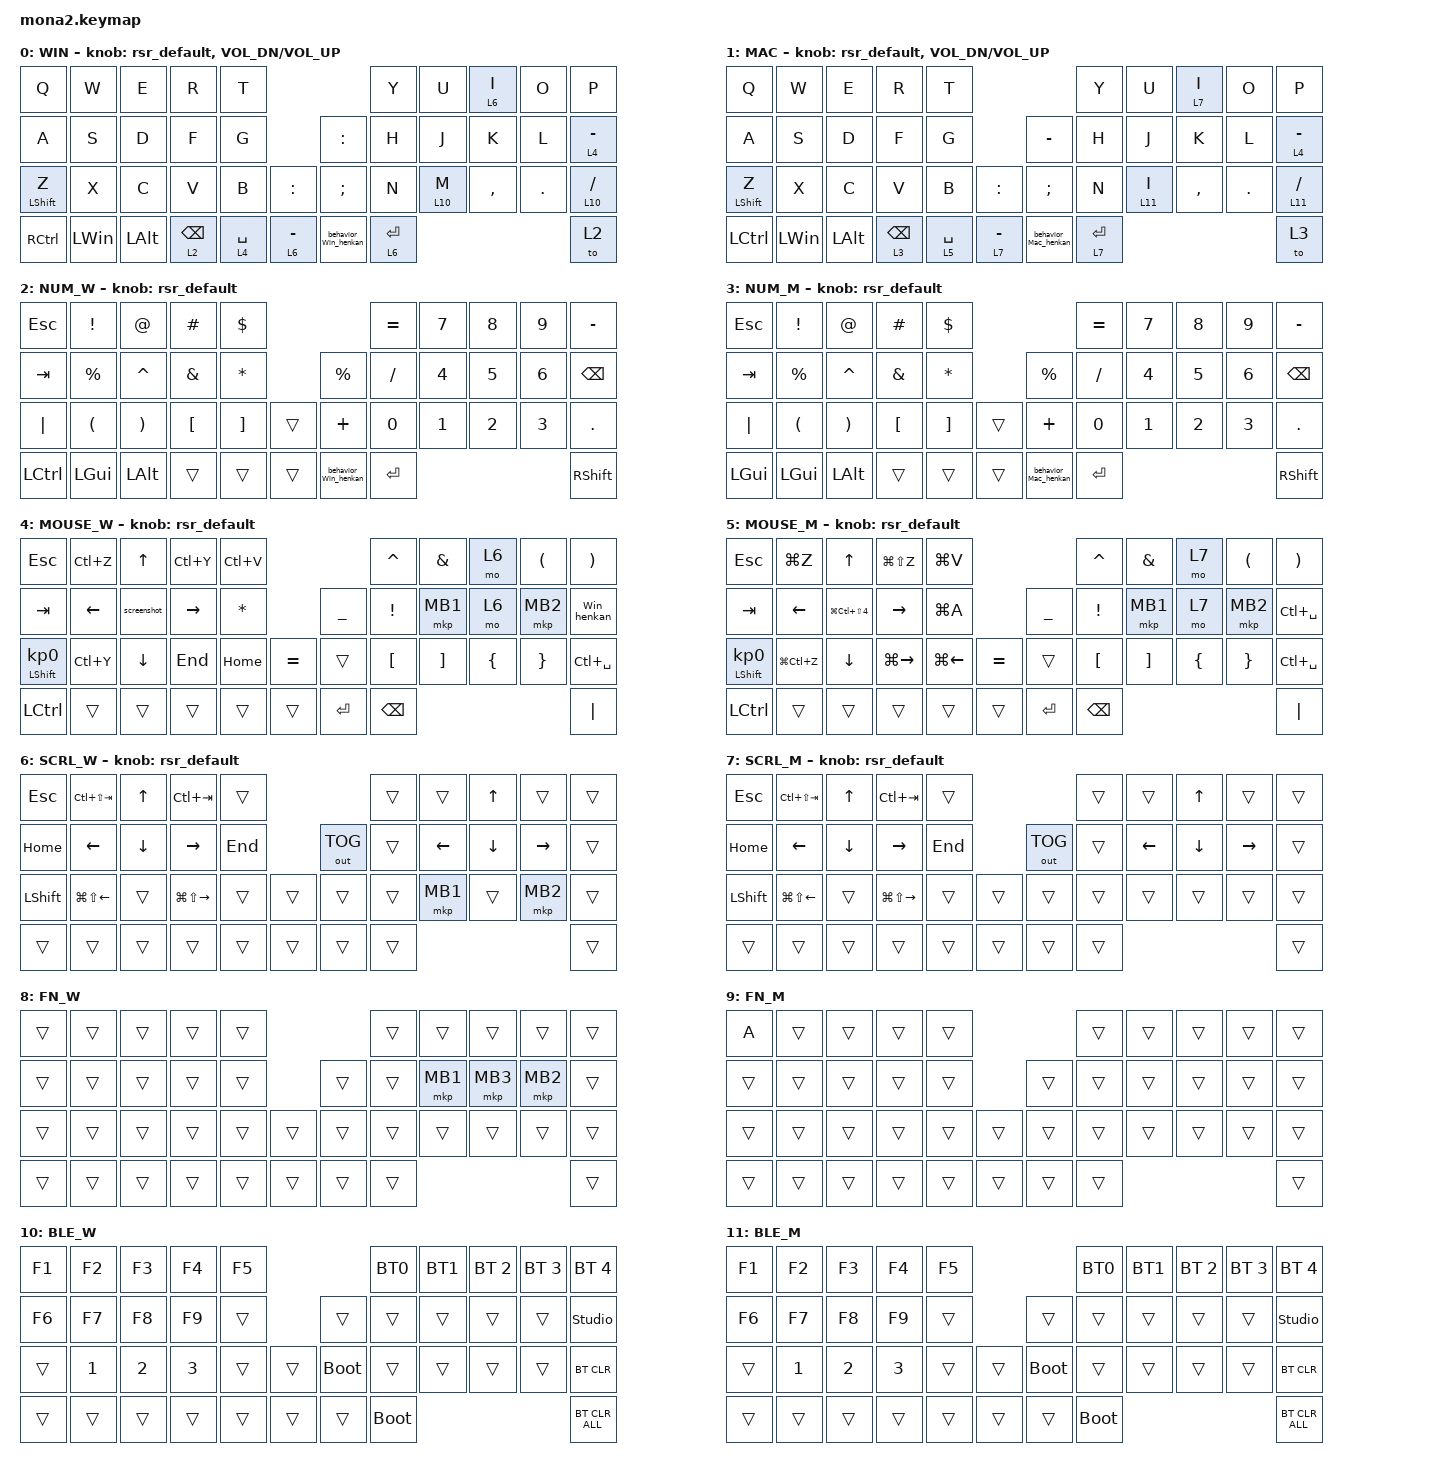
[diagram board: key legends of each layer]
#include <input/processors.dtsi>
#include <dt-bindings/zmk/input_transform.h>
#include <zephyr/dt-bindings/input/input-event-codes.h>
#include <behaviors/runtime-sensor-rotate.dtsi>
#include <behaviors.dtsi>
#include <dt-bindings/zmk/bt.h>
#include <dt-bindings/zmk/keys.h>
#include <dt-bindings/zmk/outputs.h>
#include <dt-bindings/zmk/pointing.h>

/* ZMK 側で 10 が定義済みなので警告回避のため一旦 undef */

#undef ZMK_POINTING_DEFAULT_SCRL_VAL

#define ZMK_POINTING_DEFAULT_SCRL_VAL 100

&mt {
    flavor = "balanced";
    quick-tap-ms = <0>;
};

&lt {
    quick-tap-ms = <200>;
    flavor = "balanced";
};

&msc {
    delay-ms = <0>;
    time-to-max-speed-ms = <0>;
    acceleration-exponent = <0>;
};

/ {
    combos {
        compatible = "zmk,combos";

        layer4_ESC {
            bindings = <&lt 4 ESC>;
            key-positions = <39 38>;
        };

        tab {
            bindings = <&kp TAB>;
            key-positions = <11 12>;
        };
    };

    macros {
        to_layer_0: to_layer_0 {
            compatible = "zmk,behavior-macro-one-param";
            #binding-cells = <1>;
            bindings = <&to 0 &macro_param_1to1 &kp MACRO_PLACEHOLDER>;
            label = "TO_LAYER_0";
        };

        BT0: BT0 {
            compatible = "zmk,behavior-macro";
            #binding-cells = <0>;
            bindings =
                <&tog_off 0 &tog_off 1>,
                <&macro_wait_time 200>,
                <&bt BT_SEL 0>,
                <&macro_wait_time 500>,
                <&tog_on 0>;

            label = "BT0";
        };

        BT1: BT1 {
            compatible = "zmk,behavior-macro";
            #binding-cells = <0>;
            bindings =
                <&tog_off 0 &tog_off 1>,
                <&macro_wait_time 200>,
                <&bt BT_SEL 1>,
                <&macro_wait_time 500>,
                <&tog_on 1>;

            label = "BT1";
        };

        screenshot: screenshot {
            compatible = "zmk,behavior-macro";
            #binding-cells = <0>;
            bindings =
                <&macro_press>,
                <&kp LEFT_GUI &kp RSHIFT>,
                <&macro_wait_time 20>,
                <&macro_tap>,
                <&kp S>,
                <&macro_release>,
                <&kp LEFT_GUI &kp RSHIFT>;

            label = "SCREENSHOT";
        };

        Win_henkan: henkan {
            compatible = "zmk,behavior-macro";
            #binding-cells = <0>;
            bindings = <&macro_press>, <&kp INT_HENKAN &to 0>;

            label = "HENKAN";
        };

        Win_muhenkan: Win_muhenkan {
            compatible = "zmk,behavior-macro";
            #binding-cells = <0>;
            bindings = <&macro_press>, <&kp INT_MUHENKAN &to 0>;

            label = "WIN_MUHENKAN";
        };

        Mac_henkan: Mac_henkan {
            compatible = "zmk,behavior-macro";
            #binding-cells = <0>;
            bindings = <&macro_press>, <&kp INT_HENKAN &to 1>;

            label = "MAC_HENKAN";
        };

        Mac_muhenkan: Mac_muhenkan {
            compatible = "zmk,behavior-macro";
            #binding-cells = <0>;
            bindings = <&macro_press>, <&kp INT_MUHENKAN &to 1>;

            label = "MAC_MUHENKAN";
        };
    };

    behaviors {
        lt_to_layer_0: lt_to_layer_0 {
            compatible = "zmk,behavior-hold-tap";
            label = "LAYER_TAP_TO_0";
            bindings = <&mo>, <&to_layer_0>;

            #binding-cells = <2>;
            tapping-term-ms = <200>;
        };

        tp_repeat_mo1: tp_repeat_mo1 {
            compatible = "zmk,behavior-hold-tap";
            label = "TP_REPEAT_MO1";
            bindings = <&mo>, <&key_repeat>;

            #binding-cells = <2>;
            tapping-term-ms = <200>;
        };

        // エンコーダ用 runtime-configurable sensor rotate
        // デフォルトはスクロール (cw=SCRL_DOWN, ccw=SCRL_UP)
        // DYA Studio Web UI から レイヤーごとに cw/ccw の binding を
        // kp C_VOL_UP/DN や kp LEFT/RIGHT などへ動的変更可能

        rsr_default: rsr_default {
            compatible = "zmk,behavior-runtime-sensor-rotate";
            #sensor-binding-cells = <0>;
            tap-ms = <16>;
            cw-binding = <&msc SCRL_DOWN>;
            ccw-binding = <&msc SCRL_UP>;
        };

        tog_on: toggle_layer_on_only {
            compatible = "zmk,behavior-toggle-layer";
            #binding-cells = <1>;
            display-name = "Toggle Layer On";
            toggle-mode = "on";
        };

        tog_off: toggle_layer_off_only {
            compatible = "zmk,behavior-toggle-layer";
            #binding-cells = <1>;
            display-name = "Toggle Layer Off";
            toggle-mode = "off";
        };

        zfold: zfold {
            compatible = "zmk,behavior-hold-tap";
            label = "ZFOLD";
            bindings = <&kp>, <&kp>;

            #binding-cells = <2>;
            tapping-term-ms = <300>;
            flavor = "hold-preferred";
            quick-tap-ms = <150>;
            hold-while-undecided;
        };

        zfoldZ: zfoldZ {
            compatible = "zmk,behavior-tap-dance";
            label = "ZFOLDZ";
            #binding-cells = <0>;
            bindings = <&zfold LEFT_SHIFT Z>, <&kp LS(Z)>;
        };

        behavior_Win_henkan: behavior_Win_henkan {
            compatible = "zmk,behavior-tap-dance";
            label = "BEHAVIOR_WIN_HENKAN";
            #binding-cells = <0>;
            bindings = <&Win_henkan>, <&Win_muhenkan>;
        };

        behavior_Mac_henkan: behavior_Mac_henkan {
            compatible = "zmk,behavior-tap-dance";
            label = "BEHAVIOR_MAC_HENKAN";
            #binding-cells = <0>;
            bindings = <&Mac_henkan>, <&Mac_muhenkan>;
        };
    };

    keymap {
        compatible = "zmk,keymap";

        win_layer {
            display-name = "WIN";
            bindings = <
&kp Q             &kp W         &kp E         &kp R            &kp T                                             &kp Y        &kp U     &lt 6 I    &kp O    &kp P
&kp A             &kp S         &kp D         &kp F            &kp G                       &kp COLON             &kp H        &kp J     &kp K      &kp L    &lt 4 MINUS
&mt LEFT_SHIFT Z  &kp X         &kp C         &kp V            &kp B        &kp COLON      &kp SEMICOLON         &kp N        &lt 10 M  &kp COMMA  &kp DOT  &lt 10 SLASH
&kp RCTRL         &kp LEFT_WIN  &kp LEFT_ALT  &lt 2 BACKSPACE  &lt 4 SPACE  &lt 6 MINUS    &behavior_Win_henkan  &lt 6 ENTER                                &to 2
            >;

            sensor-bindings = <&rsr_default>, <&inc_dec_kp C_VOL_DN C_VOL_UP>;
        };

        mac_layer {
            display-name = "MAC";
            bindings = <
&kp Q             &kp W         &kp E         &kp R            &kp T                                             &kp Y        &kp U     &lt 7 I    &kp O    &kp P
&kp A             &kp S         &kp D         &kp F            &kp G                       &kp MINUS             &kp H        &kp J     &kp K      &kp L    &lt 4 MINUS
&mt LEFT_SHIFT Z  &kp X         &kp C         &kp V            &kp B        &kp COLON      &kp SEMICOLON         &kp N        &lt 11 I  &kp COMMA  &kp DOT  &lt 11 SLASH
&kp LEFT_CONTROL  &kp LEFT_WIN  &kp LEFT_ALT  &lt 3 BACKSPACE  &lt 5 SPACE  &lt 7 MINUS    &behavior_Mac_henkan  &lt 7 ENTER                                &to 3
            >;

            sensor-bindings = <&rsr_default>, <&inc_dec_kp C_VOL_DN C_VOL_UP>;
        };

        num_win {
            display-name = "NUM_W";
            bindings = <
&kp ESCAPE  &kp EXCLAMATION       &kp AT_SIGN            &kp HASH          &kp DOLLAR                                         &kp EQUAL  &kp NUMBER_7  &kp NUMBER_8  &kp NUMBER_9  &kp MINUS
&kp TAB     &kp PERCENT           &kp CARET              &kp AMPERSAND     &kp ASTERISK                 &kp PERCENT           &kp SLASH  &kp NUMBER_4  &kp NUMBER_5  &kp NUMBER_6  &kp BACKSPACE
&kp PIPE    &kp LEFT_PARENTHESIS  &kp RIGHT_PARENTHESIS  &kp LEFT_BRACKET  &kp RIGHT_BRACKET  &trans    &kp PLUS              &kp N0     &kp NUMBER_1  &kp NUMBER_2  &kp NUMBER_3  &kp DOT
&kp LCTRL   &kp LEFT_GUI          &kp LEFT_ALT           &trans            &trans             &trans    &behavior_Win_henkan  &kp ENTER                                            &kp RIGHT_SHIFT
            >;

            sensor-bindings = <&rsr_default>;
        };

        num_mac {
            display-name = "NUM_M";
            bindings = <
&kp ESCAPE    &kp EXCLAMATION       &kp AT_SIGN            &kp HASH          &kp DOLLAR                                         &kp EQUAL  &kp NUMBER_7  &kp NUMBER_8  &kp NUMBER_9  &kp MINUS
&kp TAB       &kp PERCENT           &kp CARET              &kp AMPERSAND     &kp ASTERISK                 &kp PERCENT           &kp SLASH  &kp NUMBER_4  &kp NUMBER_5  &kp NUMBER_6  &kp BACKSPACE
&kp PIPE      &kp LEFT_PARENTHESIS  &kp RIGHT_PARENTHESIS  &kp LEFT_BRACKET  &kp RIGHT_BRACKET  &trans    &kp PLUS              &kp N0     &kp NUMBER_1  &kp NUMBER_2  &kp NUMBER_3  &kp PERIOD
&kp LEFT_GUI  &kp LEFT_GUI          &kp LEFT_ALT           &trans            &trans             &trans    &behavior_Mac_henkan  &kp ENTER                                            &kp RIGHT_SHIFT
            >;

            sensor-bindings = <&rsr_default>;
        };

        mouse_win {
            display-name = "MOUSE_W";
            bindings = <
&kp ESCAPE                  &kp LC(Z)       &kp UP_ARROW    &kp LC(Y)        &kp LC(V)                                  &kp CARET         &kp AMPERSAND      &mo 6           &kp LEFT_PARENTHESIS  &kp RIGHT_PARENTHESIS
&kp TAB                     &kp LEFT_ARROW  &screenshot     &kp RIGHT_ARROW  &kp ASTERISK               &kp UNDERSCORE  &kp EXCLAMATION   &mkp MB1           &mo 6           &mkp MB2              &Win_henkan
&mt LEFT_SHIFT KP_NUMBER_0  &kp LC(Y)       &kp DOWN_ARROW  &kp END          &kp HOME      &kp EQUAL    &trans          &kp LEFT_BRACKET  &kp RIGHT_BRACKET  &kp LEFT_BRACE  &kp RIGHT_BRACE       &kp LC(SPACE)
&kp LCTRL                   &trans          &trans          &trans           &trans        &trans       &kp ENTER       &kp BACKSPACE                                                              &kp PIPE
            >;

            sensor-bindings = <&rsr_default>;
        };

        mouse_mac {
            display-name = "MOUSE_M";
            bindings = <
&kp ESCAPE                  &kp LG(Z)       &kp UP_ARROW              &kp LG(LS(Z))    &kp LG(V)                                  &kp CARET         &kp AMPERSAND      &mo 7           &kp LEFT_PARENTHESIS  &kp RIGHT_PARENTHESIS
&kp TAB                     &kp LEFT_ARROW  &kp LG(LC(LS(NUMBER_4)))  &kp RIGHT_ARROW  &kp LG(A)                  &kp UNDERSCORE  &kp EXCLAMATION   &mkp MB1           &mo 7           &mkp MB2              &kp LC(SPACE)
&mt LEFT_SHIFT KP_NUMBER_0  &kp LG(LC(Z))   &kp DOWN_ARROW            &kp LG(RIGHT)    &kp LG(LEFT)  &kp EQUAL    &trans          &kp LEFT_BRACKET  &kp RIGHT_BRACKET  &kp LEFT_BRACE  &kp RIGHT_BRACE       &kp LC(SPACE)
&kp LCTRL                   &trans          &trans                    &trans           &trans        &trans       &kp ENTER       &kp BACKSPACE                                                              &kp PIPE
            >;

            sensor-bindings = <&rsr_default>;
        };

        scroll_win {
            display-name = "SCRL_W";
            bindings = <
&kp ESCAPE      &kp LC(LS(TAB))         &kp UP_ARROW    &kp LC(TAB)              &trans                           &trans  &trans          &kp UP_ARROW    &trans           &trans
&kp HOME        &kp LEFT_ARROW          &kp DOWN_ARROW  &kp RIGHT_ARROW          &kp END            &out OUT_TOG  &trans  &kp LEFT_ARROW  &kp DOWN_ARROW  &kp RIGHT_ARROW  &trans
&kp LEFT_SHIFT  &kp LG(LS(LEFT_ARROW))  &trans          &kp LG(LS(RIGHT_ARROW))  &trans   &trans    &trans        &trans  &mkp MB1        &trans          &mkp MB2         &trans
&trans          &trans                  &trans          &trans                   &trans   &trans    &trans        &trans                                                   &trans
            >;

            sensor-bindings = <&rsr_default>;
        };

        scroll_mac {
            display-name = "SCRL_M";
            bindings = <
&kp ESCAPE      &kp LC(LS(TAB))         &kp UP_ARROW    &kp LC(TAB)              &trans                           &trans  &trans          &kp UP_ARROW    &trans           &trans
&kp HOME        &kp LEFT_ARROW          &kp DOWN_ARROW  &kp RIGHT_ARROW          &kp END            &out OUT_TOG  &trans  &kp LEFT_ARROW  &kp DOWN_ARROW  &kp RIGHT_ARROW  &trans
&kp LEFT_SHIFT  &kp LG(LS(LEFT_ARROW))  &trans          &kp LG(LS(RIGHT_ARROW))  &trans   &trans    &trans        &trans  &trans          &trans          &trans           &trans
&trans          &trans                  &trans          &trans                   &trans   &trans    &trans        &trans                                                   &trans
            >;

            sensor-bindings = <&rsr_default>;
        };

        function_win {
            display-name = "FN_W";
            bindings = <
&trans  &trans  &trans  &trans  &trans                    &trans  &trans    &trans    &trans    &trans
&trans  &trans  &trans  &trans  &trans            &trans  &trans  &mkp MB1  &mkp MB3  &mkp MB2  &trans
&trans  &trans  &trans  &trans  &trans  &trans    &trans  &trans  &trans    &trans    &trans    &trans
&trans  &trans  &trans  &trans  &trans  &trans    &trans  &trans                                &trans
            >;
        };

        function_mac {
            display-name = "FN_M";
            bindings = <
&kp A   &trans  &trans  &trans  &trans                    &trans  &trans  &trans  &trans  &trans
&trans  &trans  &trans  &trans  &trans            &trans  &trans  &trans  &trans  &trans  &trans
&trans  &trans  &trans  &trans  &trans  &trans    &trans  &trans  &trans  &trans  &trans  &trans
&trans  &trans  &trans  &trans  &trans  &trans    &trans  &trans                          &trans
            >;
        };

        ble_win {
            display-name = "BLE_W";
            bindings = <
&kp F1  &kp F2        &kp F3        &kp F4        &kp F5                         &BT0         &BT1    &bt BT_SEL 2  &bt BT_SEL 3  &bt BT_SEL 4
&kp F6  &kp F7        &kp F8        &kp F9        &trans            &trans       &trans       &trans  &trans        &trans        &studio_unlock
&trans  &kp NUMBER_1  &kp NUMBER_2  &kp NUMBER_3  &trans  &trans    &bootloader  &trans       &trans  &trans        &trans        &bt BT_CLR
&trans  &trans        &trans        &trans        &trans  &trans    &trans       &bootloader                                      &bt BT_CLR_ALL
            >;
        };

        ble_mac {
            display-name = "BLE_M";
            bindings = <
&kp F1  &kp F2        &kp F3        &kp F4        &kp F5                         &BT0         &BT1    &bt BT_SEL 2  &bt BT_SEL 3  &bt BT_SEL 4
&kp F6  &kp F7        &kp F8        &kp F9        &trans            &trans       &trans       &trans  &trans        &trans        &studio_unlock
&trans  &kp NUMBER_1  &kp NUMBER_2  &kp NUMBER_3  &trans  &trans    &bootloader  &trans       &trans  &trans        &trans        &bt BT_CLR
&trans  &trans        &trans        &trans        &trans  &trans    &trans       &bootloader                                      &bt BT_CLR_ALL
            >;
        };
    };
};
